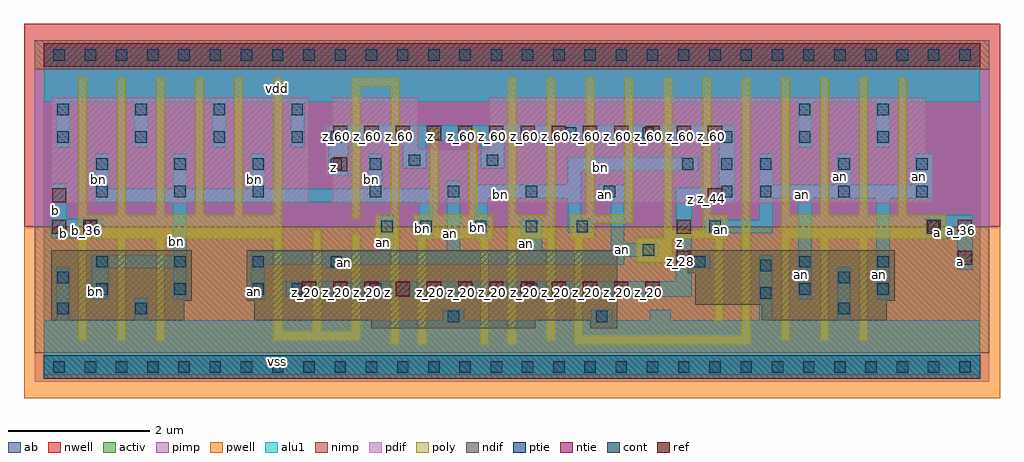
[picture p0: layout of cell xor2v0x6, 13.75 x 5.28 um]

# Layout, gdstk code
import gdstk
lib = gdstk.Library(unit=1e-6, precision=2.5e-09)
def R(c, l, rs):  # rectangles x0, y0, x1, y1
    for r in rs: c.add(gdstk.rectangle(r[:2], r[2:], *l))
def A(c, l, x, y, w, h, nx, ny, dx, dy):  # array of equal rectangles
    R(c, l, [(x+i*dx, y+j*dy, x+i*dx+w, y+j*dy+h) for i in range(nx) for j in range(ny)])
ndif = (3, 0)
pdif = (4, 0)
ntie = (5, 0)
ptie = (6, 0)
ref = (24, 0)
cont = (25, 0)
pwell = (41, 0)
nwell = (42, 0)
activ = (43, 0)
pimp = (44, 0)
nimp = (45, 0)
poly = (46, 0)
alu1 = (49, 0)
ab = (63, 0)

xor2v0x6 = lib.new_cell('xor2v0x6')
R(xor2v0x6, ndif, [(4.62,0.55,6.93,0.66), (7.7,0.55,8.085,0.66), (0.11,0.66,1.98,0.935), (2.97,0.66,8.085,0.935), (10.12,0.66,11.88,0.88), (9.185,0.88,11.88,0.935), (0.11,0.935,2.09,1.65), (2.86,0.935,8.085,1.65), (9.185,0.935,11.99,1.32), (9.075,1.32,11.99,1.65)])
R(xor2v0x6, pdif, [(0.11,2.31,3.74,3.795), (4.07,2.31,12.54,2.695), (3.96,2.695,12.54,3.025), (3.96,3.025,12.43,3.08), (3.96,3.08,5.28,3.41), (6.27,3.08,12.43,3.795), (4.07,3.41,5.28,3.795)])
R(xor2v0x6, ntie, [(0,4.235,13.2,4.565)])
R(xor2v0x6, ptie, [(0,-0.165,13.2,0.165)])
A(xor2v0x6, ref, 3.64, 1, 0.2, 0.2, 12, 1, 0.44, 0)
A(xor2v0x6, ref, 4.08, 3.2, 0.2, 0.2, 13, 1, 0.44, 0)
R(xor2v0x6, ref, [(8.92,1.44,9.12,1.64), (12.88,1.44,13.08,1.64), (0.12,1.88,0.32,2.08), (0.56,1.88,0.76,2.08), (8.92,1.88,9.12,2.08), (12.44,1.88,12.64,2.08), (12.88,1.88,13.08,2.08), (0.12,2.32,0.32,2.52), (9.36,2.32,9.56,2.52), (4.08,2.76,4.28,2.96)])
A(xor2v0x6, cont, 0.14, -0.08, 0.16, 0.16, 30, 2, 0.44, 4.4)
A(xor2v0x6, cont, 0.745, 1.02, 0.16, 0.16, 3, 2, 1.1, 1.375)
A(xor2v0x6, cont, 0.745, 1.405, 0.16, 0.16, 4, 2, 1.1, 1.375)
A(xor2v0x6, cont, 6.08, 1.9, 0.16, 0.16, 3, 1, 0.715, 0)
A(xor2v0x6, cont, 4.595, 2.395, 0.16, 0.16, 4, 1, 1.1, 0)
A(xor2v0x6, cont, 10.095, 2.395, 0.16, 0.16, 3, 1, 1.1, 0)
A(xor2v0x6, cont, 8.995, 2.78, 0.16, 0.16, 3, 1, 0.55, 0)
A(xor2v0x6, cont, 0.195, 3.165, 0.16, 0.16, 4, 2, 1.1, 0.385)
A(xor2v0x6, cont, 9.545, 3.165, 0.16, 0.16, 3, 1, 1.1, 0)
R(xor2v0x6, cont, [(5.695,0.635,5.855,0.795), (7.785,0.635,7.945,0.795), (0.195,0.745,0.355,0.905), (1.295,0.745,1.455,0.905), (11.195,0.745,11.355,0.905), (10.095,0.965,10.255,1.125), (3.495,1.02,3.655,1.18), (4.595,1.02,4.755,1.18), (6.795,1.02,6.955,1.18), (10.645,1.02,10.805,1.18), (11.745,1.02,11.905,1.18), (0.195,1.185,0.355,1.345), (11.195,1.185,11.355,1.345), (10.095,1.35,10.255,1.51), (9.16,1.405,9.32,1.565), (10.645,1.405,10.805,1.565), (11.745,1.405,11.905,1.565), (8.445,1.57,8.605,1.73), (0.58,1.9,0.74,2.06), (4.76,1.9,4.92,2.06), (5.31,1.9,5.47,2.06), (9.38,1.9,9.54,2.06), (12.46,1.9,12.62,2.06), (9.545,2.395,9.705,2.555), (4.595,2.78,4.755,2.94), (11.195,2.78,11.355,2.94), (12.295,2.78,12.455,2.94), (5.145,2.835,5.305,2.995), (6.245,2.835,6.405,2.995), (4.045,3.165,4.205,3.325), (7.345,3.22,7.505,3.38), (8.445,3.22,8.605,3.38), (10.645,3.55,10.805,3.71), (11.745,3.55,11.905,3.71)])
R(xor2v0x6, pwell, [(-0.275,-0.44,13.475,1.98)])
R(xor2v0x6, nwell, [(-0.275,1.98,13.475,4.84)])
R(xor2v0x6, activ, [(0,-0.165,13.2,0.165), (4.62,0.55,6.93,0.66), (7.7,0.55,8.085,0.66), (0.11,0.66,1.98,0.935), (2.97,0.66,8.085,0.935), (10.12,0.66,11.88,0.88), (9.185,0.88,11.88,0.935), (0.11,0.935,2.09,1.65), (2.86,0.935,8.085,1.65), (9.185,0.935,11.99,1.32), (9.075,1.32,11.99,1.65), (0.11,2.31,3.74,3.795), (4.07,2.31,12.54,2.695), (3.96,2.695,12.54,3.025), (3.96,3.025,12.43,3.08), (3.96,3.08,5.28,3.41), (6.27,3.08,12.43,3.795), (4.07,3.41,5.28,3.795), (0,4.235,13.2,4.565)])
R(xor2v0x6, pimp, [(-0.125,-0.205,13.325,0.205), (-0.125,1.98,13.325,4.195)])
R(xor2v0x6, nimp, [(-0.125,0.205,13.325,1.98), (-0.125,4.195,13.325,4.605)])
A(xor2v0x6, poly, 0.49, 0.38, 0.12, 1.43, 3, 1, 0.55, 0)
A(xor2v0x6, poly, 10.39, 0.38, 0.12, 1.43, 3, 1, 0.55, 0)
A(xor2v0x6, poly, 0.49, 2.15, 0.12, 1.925, 6, 1, 0.55, 0)
A(xor2v0x6, poly, 6.54, 2.15, 0.12, 1.925, 4, 1, 0.55, 0)
A(xor2v0x6, poly, 10.39, 2.15, 0.12, 1.925, 4, 1, 0.55, 0)
R(xor2v0x6, poly, [(4.89,0.325,5.01,1.81), (5.275,0.325,5.395,1.81), (6.155,0.325,6.275,1.81), (6.54,0.325,6.66,1.81), (7.475,0.325,9.96,0.445), (3.24,0.38,4.46,0.5), (7.09,0.38,7.21,1.81), (7.475,0.445,7.595,1.81), (9.84,0.445,9.96,4.075), (3.24,0.5,3.36,1.81), (3.79,0.5,3.91,1.93), (4.34,0.5,4.46,1.875), (9.455,0.655,9.575,1.81), (8.355,1.48,8.86,1.81), (0.49,1.81,3.36,2.15), (4.67,1.81,5.01,2.15), (5.22,1.81,6.33,2.15), (6.54,1.81,7.21,2.15), (7.42,1.81,7.76,2.03), (8.355,1.81,9.63,1.82), (10.39,1.81,12.71,2.15), (8.74,1.82,9.63,1.93), (8.74,1.93,8.86,4.075), (9.29,1.93,9.63,2.15), (7.42,2.03,8.31,2.15), (4.34,2.085,4.46,3.955), (4.89,2.15,5.01,3.955), (5.44,2.15,5.56,3.36), (5.99,2.15,6.11,3.36), (9.29,2.15,9.41,4.075), (4.34,3.955,5.01,4.075)])
A(xor2v0x6, alu1, 0.73, 2.515, 0.19, 0.495, 3, 1, 1.1, 0)
A(xor2v0x6, alu1, 0.18, 3.095, 0.19, 0.645, 4, 1, 1.1, 0)
R(xor2v0x6, alu1, [(0,-0.11,13.2,0.66), (0.18,0.66,0.37,1.415), (1.28,0.66,1.47,0.975), (5.625,0.66,5.925,0.81), (7.715,0.66,8.015,0.81), (8.54,0.66,8.84,0.81), (10.08,0.66,10.27,1.58), (11.18,0.66,11.37,1.415), (0.675,0.95,0.92,1.39), (1.83,0.95,2.02,1.39), (2.93,0.95,3.12,1.445), (10.63,0.95,10.82,2.38), (11.73,0.95,11.92,2.38), (3.41,0.99,9.13,1.21), (8.91,1.21,9.13,1.39), (12.87,1.375,13.09,1.815), (0.675,1.39,2.02,1.58), (3.975,1.39,4.275,1.445), (8.91,1.39,9.39,1.58), (2.93,1.445,8.18,1.555), (2.93,1.555,8.675,1.635), (1.83,1.58,2.02,2.325), (8.91,1.58,9.13,2.31), (4.745,1.635,4.935,2.13), (5.68,1.635,5.87,2.625), (6.725,1.635,7.025,2.075), (7.99,1.635,8.675,1.745), (7.99,1.745,8.18,2.38), (0.11,1.815,0.825,2.09), (12.43,1.815,13.09,2.145), (5.295,1.83,5.485,2.325), (6.065,1.83,6.255,2.38), (7.385,1.885,7.74,2.075), (9.31,1.885,10.27,2.075), (7.385,2.075,7.575,2.38), (10.08,2.075,10.27,2.38), (0.11,2.09,0.33,2.585), (8.91,2.31,9.735,2.53), (0.73,2.325,5.485,2.515), (6.065,2.38,7.575,2.57), (7.825,2.38,8.18,2.57), (10.08,2.38,12.525,2.57), (4.58,2.515,4.77,3.01), (9.515,2.53,9.735,3.19), (7.385,2.57,7.575,2.765), (10.08,2.57,10.27,3.01), (11.18,2.57,11.37,3.01), (12.28,2.57,12.525,3.01), (4.015,2.695,4.29,3.19), (7.385,2.765,9.225,2.955), (5.06,2.805,5.39,3.19), (6.16,2.805,6.49,3.19), (10.63,3.095,10.82,3.74), (11.73,3.095,11.92,3.74), (4.015,3.19,9.735,3.41), (0,3.74,13.2,4.51)])
R(xor2v0x6, ab, [(0,0,13.2,4.4)])
xor2v0x6.add(gdstk.Label('vss', (3.3,0.0825), layer=49, texttype=0))
xor2v0x6.add(gdstk.Label('a', (12.925,1.485), layer=49, texttype=0))
xor2v0x6.add(gdstk.Label('a', (12.595,1.8975), layer=49, texttype=0))
xor2v0x6.add(gdstk.Label('an', (11.7775,1.3075), layer=49, texttype=0))
xor2v0x6.add(gdstk.Label('an', (10.6775,1.3075), layer=49, texttype=0))
xor2v0x6.add(gdstk.Label('z', (4.84,1.045), layer=49, texttype=0))
xor2v0x6.add(gdstk.Label('an', (2.9775,1.0725), layer=49, texttype=0))
xor2v0x6.add(gdstk.Label('an', (4.2425,1.4725), layer=49, texttype=0))
xor2v0x6.add(gdstk.Label('an', (9.55,1.9325), layer=49, texttype=0))
xor2v0x6.add(gdstk.Label('z', (8.965,1.7625), layer=49, texttype=0))
xor2v0x6.add(gdstk.Label('bn', (0.735,1.06), layer=49, texttype=0))
xor2v0x6.add(gdstk.Label('an', (8.16,1.6625), layer=49, texttype=0))
xor2v0x6.add(gdstk.Label('an', (10.69,2.4275), layer=49, texttype=0))
xor2v0x6.add(gdstk.Label('an', (12.34,2.68), layer=49, texttype=0))
xor2v0x6.add(gdstk.Label('an', (11.2275,2.68), layer=49, texttype=0))
xor2v0x6.add(gdstk.Label('z', (9.115,2.365), layer=49, texttype=0))
xor2v0x6.add(gdstk.Label('an', (6.8,1.745), layer=49, texttype=0))
xor2v0x6.add(gdstk.Label('bn', (6.1125,1.9675), layer=49, texttype=0))
xor2v0x6.add(gdstk.Label('an', (7.9125,2.4275), layer=49, texttype=0))
xor2v0x6.add(gdstk.Label('bn', (6.4425,2.4275), layer=49, texttype=0))
xor2v0x6.add(gdstk.Label('an', (5.7275,1.8825), layer=49, texttype=0))
xor2v0x6.add(gdstk.Label('bn', (5.3425,1.9525), layer=49, texttype=0))
xor2v0x6.add(gdstk.Label('an', (4.7925,1.7575), layer=49, texttype=0))
xor2v0x6.add(gdstk.Label('bn', (1.8775,1.765), layer=49, texttype=0))
xor2v0x6.add(gdstk.Label('b', (0.2875,1.8825), layer=49, texttype=0))
xor2v0x6.add(gdstk.Label('bn', (7.845,2.8125), layer=49, texttype=0))
xor2v0x6.add(gdstk.Label('bn', (4.6275,2.6375), layer=49, texttype=0))
xor2v0x6.add(gdstk.Label('z', (4.0825,2.8175), layer=49, texttype=0))
xor2v0x6.add(gdstk.Label('bn', (2.9775,2.6375), layer=49, texttype=0))
xor2v0x6.add(gdstk.Label('bn', (0.7775,2.6375), layer=49, texttype=0))
xor2v0x6.add(gdstk.Label('b', (0.165,2.2125), layer=49, texttype=0))
xor2v0x6.add(gdstk.Label('z', (5.445,3.245), layer=49, texttype=0))
xor2v0x6.add(gdstk.Label('vdd', (3.3,3.9325), layer=49, texttype=0))
xor2v0x6.add(gdstk.Label('z_20', (5.01,1.05), layer=24, texttype=0))
xor2v0x6.add(gdstk.Label('z_20', (4.57,1.05), layer=24, texttype=0))
xor2v0x6.add(gdstk.Label('z_20', (4.13,1.05), layer=24, texttype=0))
xor2v0x6.add(gdstk.Label('z_20', (3.69,1.05), layer=24, texttype=0))
xor2v0x6.add(gdstk.Label('b_36', (0.17,1.93), layer=24, texttype=0))
xor2v0x6.add(gdstk.Label('b_36', (0.61,1.93), layer=24, texttype=0))
xor2v0x6.add(gdstk.Label('z_20', (5.45,1.05), layer=24, texttype=0))
xor2v0x6.add(gdstk.Label('a_36', (12.93,1.93), layer=24, texttype=0))
xor2v0x6.add(gdstk.Label('a_36', (12.49,1.93), layer=24, texttype=0))
xor2v0x6.add(gdstk.Label('a_28', (12.93,1.49), layer=24, texttype=0))
xor2v0x6.add(gdstk.Label('b_44', (0.17,2.37), layer=24, texttype=0))
xor2v0x6.add(gdstk.Label('z_20', (5.89,1.05), layer=24, texttype=0))
xor2v0x6.add(gdstk.Label('z_20', (6.33,1.05), layer=24, texttype=0))
xor2v0x6.add(gdstk.Label('z_20', (6.77,1.05), layer=24, texttype=0))
xor2v0x6.add(gdstk.Label('z_20', (7.21,1.05), layer=24, texttype=0))
xor2v0x6.add(gdstk.Label('z_20', (7.65,1.05), layer=24, texttype=0))
xor2v0x6.add(gdstk.Label('z_20', (8.09,1.05), layer=24, texttype=0))
xor2v0x6.add(gdstk.Label('z_20', (8.53,1.05), layer=24, texttype=0))
xor2v0x6.add(gdstk.Label('z_28', (8.97,1.49), layer=24, texttype=0))
xor2v0x6.add(gdstk.Label('z_36', (8.97,1.93), layer=24, texttype=0))
xor2v0x6.add(gdstk.Label('z_44', (9.41,2.37), layer=24, texttype=0))
xor2v0x6.add(gdstk.Label('z_60', (9.41,3.25), layer=24, texttype=0))
xor2v0x6.add(gdstk.Label('z_60', (8.97,3.25), layer=24, texttype=0))
xor2v0x6.add(gdstk.Label('z_60', (8.53,3.25), layer=24, texttype=0))
xor2v0x6.add(gdstk.Label('z_60', (8.09,3.25), layer=24, texttype=0))
xor2v0x6.add(gdstk.Label('z_60', (7.65,3.25), layer=24, texttype=0))
xor2v0x6.add(gdstk.Label('z_60', (7.21,3.25), layer=24, texttype=0))
xor2v0x6.add(gdstk.Label('z_60', (6.77,3.25), layer=24, texttype=0))
xor2v0x6.add(gdstk.Label('z_60', (6.33,3.25), layer=24, texttype=0))
xor2v0x6.add(gdstk.Label('z_60', (5.89,3.25), layer=24, texttype=0))
xor2v0x6.add(gdstk.Label('z_60', (5.45,3.25), layer=24, texttype=0))
xor2v0x6.add(gdstk.Label('z_60', (5.01,3.25), layer=24, texttype=0))
xor2v0x6.add(gdstk.Label('z_60', (4.57,3.25), layer=24, texttype=0))
xor2v0x6.add(gdstk.Label('z_60', (4.13,3.25), layer=24, texttype=0))
xor2v0x6.add(gdstk.Label('z_52', (4.13,2.81), layer=24, texttype=0))

lib.write_gds('xor2v0x6.gds')
